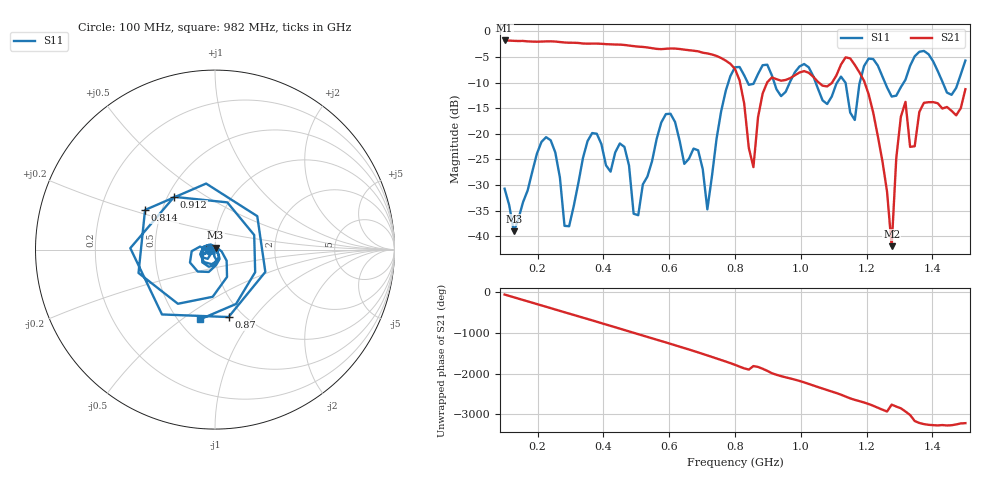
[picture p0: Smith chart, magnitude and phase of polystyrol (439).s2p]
! NanoVNA-App
! Date: 2025-09-25 15:33:18
! Start: 100MHz Stop: 1,5GHz Points: 101
! S-Parameter data: F S11 S21 S12 S22
# Hz S RI R 50
!  Frequency  S11_Real  S11_Imag  S21_Real  S21_Imag  S12_Real  S12_Imag  S22_Real  S22_Imag
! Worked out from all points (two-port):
!   101 points, 100 MHz to 1.5 GHz, reference 50 ohm
!   highest |S21| = -1.80 dB at 100 MHz (marker M1); lowest = -41.9 dB at 1.276 GHz (marker M2)
!   |S21| within 3 dB of the highest: start of sweep to 743.2 MHz
!   lowest |S11| = -39.0 dB at 128 MHz (marker M3), VSWR 1.02, Z = 50.3 + j1.07 ohm
!   |S11| at or under -10 dB: start of sweep to 779.8 MHz; 1.045 GHz to 1.11 GHz (65.26 MHz wide, 6.06 % of centre); 1.135 GHz to 1.179 GHz (43.83 MHz wide, 3.79 % of centre) (the widest 3 of 7)
!   S12 and S22 are empty: the file has one direction only
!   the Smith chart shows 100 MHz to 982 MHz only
!   S11 on the Smith chart (normalised r, x): 100 MHz: 0.94, -0.01; 814 MHz: 0.40, +0.22; 870 MHz: 0.86, -0.75; 912 MHz: 0.54, +0.37; 982 MHz: 0.63, -0.59
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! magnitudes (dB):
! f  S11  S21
! 100 MHz  -30.7  -1.8
! 128 MHz  -39.0  -1.9
! 212 MHz  -21.6  -2.0
! 282 MHz  -37.9  -2.2
! 338 MHz  -24.7  -2.4
! 464 MHz  -22.5  -2.7
! 506 MHz  -35.9  -3.0
! 576 MHz  -17.8  -3.5
! 716 MHz  -34.7  -4.3
! 800 MHz  -7.0  -7.4
! 814 MHz  -7.0  -9.6
! 856 MHz  -10.3  -26.5
! 870 MHz  -8.3  -16.8
! 912 MHz  -8.6  -9.0
! 982 MHz  -8.0  -8.6
! 1.038 GHz  -8.8  -8.9
! 1.164 GHz  -17.3  -6.6
! 1.192 GHz  -6.8  -9.7
! 1.276 GHz  -12.7  -41.9
! 1.318 GHz  -9.5  -13.8
! 1.346 GHz  -4.9  -22.4
! 1.5 GHz  -5.7  -11.3
